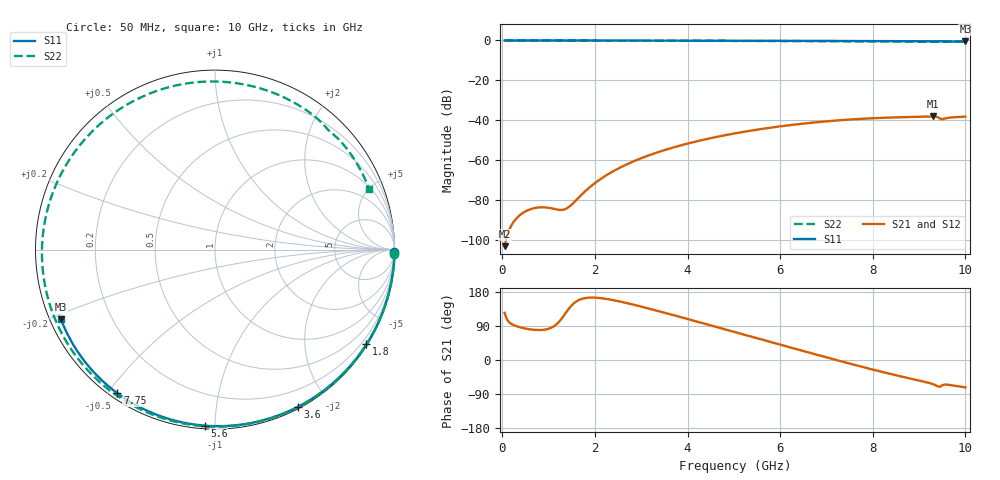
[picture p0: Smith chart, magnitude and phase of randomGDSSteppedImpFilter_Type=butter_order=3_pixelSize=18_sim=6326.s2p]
! freq	dB(S11)	phase(S11)	dB(S12)	phase(S12)
!  dB(S21)	phase(S21)	dB(S22)	phase(S22)
!S-par simulation data
#  GHz  S  DB  R 50
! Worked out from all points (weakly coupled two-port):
!   200 points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, 50 MHz to 10 GHz, reference 50 ohm
!   highest |S21| = -38.16 dB at 9.3 GHz (marker M1); lowest = -103.3 dB at 50 MHz (marker M2)
!   lowest |S11| = -0.5 dB at 10 GHz (marker M3), VSWR 33.57, Z = 1.56 - j10.8 ohm
!   |S11| at or under -10 dB: nowhere
!   |S22| runs from -0.7 to 0.0 dB; largest |S21 - S12| = 0
!   S11 on the Smith chart (normalised r, x): 50 MHz: open; 1.8 GHz: 0.03, -3.48; 3.6 GHz: 0.02, -1.65; 5.6 GHz: 0.02, -0.94; 7.75 GHz: 0.02, -0.53; 10 GHz: 0.03, -0.22
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0.05  -0.00 -0.9  -103.28 124.5  -103.28 124.5  -0.00 -1.5
0.8  -0.02 -14.4  -83.80 79.0  -83.80 79.0  -0.03 -24.4
1.6  -0.04 -28.5  -80.04 154.5  -80.04 154.5  -0.06 -48.3
1.75  -0.04 -31.2  -76.57 162.3  -76.57 162.3  -0.07 -52.7
1.8  -0.04 -32.0  -75.49 163.6  -75.49 163.6  -0.07 -54.1
2.1  -0.05 -37.2  -69.92 163.6  -69.92 163.6  -0.08 -62.9
2.45  -0.06 -43.2  -64.96 156.6  -64.96 156.6  -0.09 -72.9
2.9  -0.07 -50.8  -60.05 144.0  -60.05 144.0  -0.11 -85.7
3.4  -0.08 -59.1  -55.80 128.1  -55.80 128.1  -0.13 -99.8
3.6  -0.08 -62.3  -54.35 121.6  -54.35 121.6  -0.14 -105.4
4.3  -0.10 -73.5  -50.08 98.1  -50.08 98.1  -0.18 -125.0
5.05  -0.13 -85.1  -46.53 72.7  -46.53 72.7  -0.22 -146.4
5.6  -0.15 -93.4  -44.44 54.0  -44.44 54.0  -0.27 -162.7
6.15  -0.18 -101.5  -42.69 35.4  -42.69 35.4  -0.32 -179.8
6.7  -0.21 -109.4  -41.26 17.0  -41.26 17.0  -0.37 161.9
7.2  -0.24 -116.5  -40.21 0.4  -40.21 0.4  -0.43 144.0
7.75  -0.29 -124.2  -39.34 -17.4  -39.34 -17.4  -0.49 122.6
8.35  -0.34 -132.5  -38.72 -35.9  -38.72 -35.9  -0.55 97.2
8.85  -0.39 -139.5  -38.40 -50.0  -38.40 -50.0  -0.60 74.6
9.3  -0.43 -145.8  -38.16 -63.7  -38.16 -63.7  -0.66 53.5
9.5  -0.46 -148.6  -39.52 -66.9  -39.52 -66.9  -0.73 44.7
10  -0.52 -155.7  -38.25 -72.2  -38.25 -72.2  -0.69 21.5
